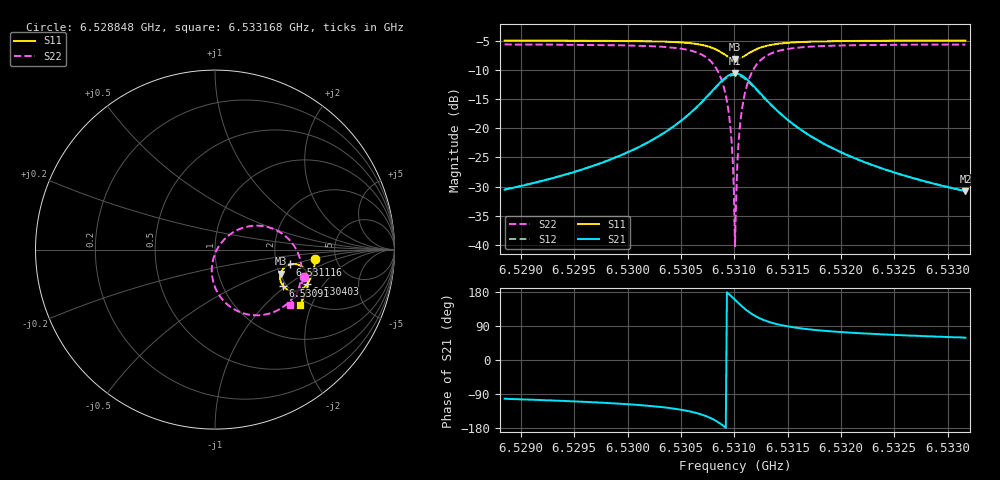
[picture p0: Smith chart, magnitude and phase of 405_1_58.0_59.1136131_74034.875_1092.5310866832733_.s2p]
#  HZ  S  RI  R  50.00
! Rohde & Schwarz Vector Network Analyzer
! Rohde-Schwarz,ZNB20-2Port,1311601062101988,3.16
! Created: UTC 3/21/2024, 1:08:24 AM
! freq[Hz]  re:S11  im:S11  re:S21  im:S21  re:S12  im:S12  re:S22  im:S22
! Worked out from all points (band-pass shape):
!   401 points, 6.528848 GHz to 6.533168 GHz, reference 50 ohm
!   highest |S21| = -10.63 dB at 6.531008 GHz (marker M1); lowest = -30.8 dB at 6.533168 GHz (marker M2)
!   |S21| within 3 dB of the highest: 6.530793 GHz to 6.531225 GHz (432 kHz wide, 0.00661 % of centre)
!   lowest |S11| = -8.2 dB at 6.531008 GHz (marker M3), VSWR 2.27, Z = 101 - j31.8 ohm
!   |S11| at or under -10 dB: nowhere
!   |S22| runs from -40.2 to -5.7 dB; largest |S21 - S12| = 0.011
!   S11 on the Smith chart (normalised r, x): 6.528848 GHz: 3.48, -0.51; 6.530403 GHz: 2.55, -1.41; 6.53091 GHz: 1.91, -0.94; 6.531116 GHz: 2.37, -0.48; 6.533168 GHz: 1.83, -1.65
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6.5288476e9  0.559 -0.0503  -0.00623 -0.0292  -0.00687 -0.0291  0.4973 -0.153
6.5295712e9  0.5494 -0.1098  -0.0153 -0.0416  -0.0162 -0.0413  0.4681 -0.2194
6.5302948e9  0.5219 -0.1801  -0.0473 -0.0715  -0.0493 -0.0703  0.3902 -0.3116
6.5304028e9  0.513 -0.1929  -0.0598 -0.0792  -0.0621 -0.0776  0.3639 -0.3296
6.5307484e9  0.4465 -0.2309  -0.1619 -0.0955  -0.1641 -0.0891  0.1712 -0.3585
6.5308456e9  0.4059 -0.2236  -0.225 -0.0672  -0.2239 -0.0583  0.0647 -0.302
6.5309104e9  0.3772 -0.2001  -0.267 -0.0171  -0.262 -0.00782  0.000605 -0.211
6.5309537e9  0.3645 -0.1736  -0.2829 0.0335  -0.2749 0.0411  -0.018 -0.1244
6.5309753e9  0.3622 -0.1581  -0.2838 0.0623  -0.2747 0.0685  -0.0148 -0.0767
6.5309861e9  0.3625 -0.15  -0.2822 0.0769  -0.2726 0.0823  -0.00966 -0.0528
6.5309969e9  0.3634 -0.1419  -0.279 0.0918  -0.2692 0.096  -0.00234 -0.0291
6.5310077e9  0.3653 -0.134  -0.2745 0.1058  -0.2644 0.1094  0.0074 -0.00644
6.5310185e9  0.3681 -0.1261  -0.2684 0.1197  -0.2584 0.1222  0.0194 0.0153
6.5310293e9  0.3714 -0.1188  -0.261 0.1327  -0.2511 0.1344  0.0334 0.0357
6.5310401e9  0.3758 -0.1119  -0.2527 0.1449  -0.2428 0.1458  0.0493 0.0541
6.5310617e9  0.3862 -0.1001  -0.2328 0.1661  -0.2238 0.1654  0.0852 0.0859
6.5311157e9  0.4178 -0.0825  -0.1751 0.1976  -0.1687 0.1949  0.1857 0.1291
6.5311913e9  0.4589 -0.0827  -0.1026 0.2003  -0.0994 0.1976  0.3081 0.1215
6.5312993e9  0.4948 -0.1047  -0.0399 0.1711  -0.0385 0.1697  0.4106 0.058
6.5317313e9  0.5192 -0.1836  0.0145 0.0829  0.0156 0.0826  0.4828 -0.1282
6.5324549e9  0.4992 -0.2557  0.017 0.0396  0.0178 0.0394  0.4555 -0.2442
6.5331677e9  0.4716 -0.308  0.015 0.0248  0.0154 0.0247  0.4205 -0.3061
